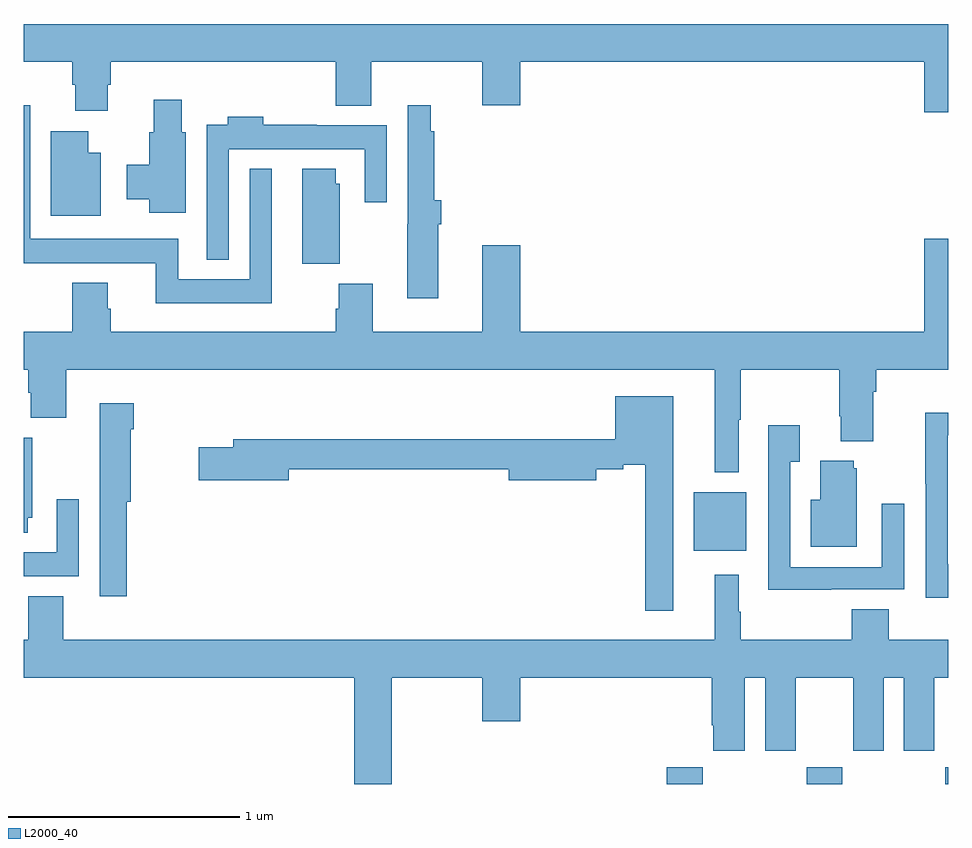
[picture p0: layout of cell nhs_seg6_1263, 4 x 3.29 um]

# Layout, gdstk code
import gdstk
lib = gdstk.Library(unit=1e-6, precision=1e-09)
def R(c, l, rs):  # rectangles x0, y0, x1, y1
    for r in rs: c.add(gdstk.rectangle(r[:2], r[2:], *l))
def P(c, l, *ps):  # polygons
    for p in ps: c.add(gdstk.Polygon(p, *l))
L2000_40 = (2000, 40)

nhs_seg6_1263 = lib.new_cell('nhs_seg6_1263')
R(nhs_seg6_1263, L2000_40, [(189.782,989.5,189.937,989.572), (190.387,989.5,190.542,989.572), (190.987,989.5,191,989.572), (189.899,990.509,190.126,990.763)])
P(nhs_seg6_1263, L2000_40, [(191,992.788),(187,992.788),(187,992.624),(187.211,992.624),(187.211,992.526),(187.223,992.526),(187.223,992.412),(187.363,992.412),(187.363,992.526),(187.376,992.526),(187.376,992.624),(188.351,992.624),(188.351,992.435),(188.503,992.435),(188.503,992.624),(188.984,992.624),(188.984,992.436),(189.148,992.436),(189.148,992.624),(190.895,992.624),(190.895,992.406),(191,992.406)],
  [(187.702,992.319),(187.684,992.319),(187.684,992.461),(187.562,992.461),(187.562,992.319),(187.544,992.319),(187.544,992.178),(187.445,992.178),(187.445,992.03),(187.544,992.03),(187.544,991.971),(187.702,991.971)],
  [(188.794,991.922),(188.807,991.922),(188.807,992.026),(188.777,992.026),(188.777,992.324),(188.76,992.324),(188.76,992.437),(188.661,992.437),(188.661,991.922),(188.66,991.922),(188.66,991.602),(188.794,991.602)],
  [(188.074,992.161),(187.977,992.161),(187.977,991.684),(187.668,991.684),(187.668,991.858),(187.029,991.858),(187.029,992.437),(187,992.437),(187,991.752),(187.036,991.752),(187.036,991.754),(187.571,991.754),(187.571,991.58),(188.074,991.58)],
  [(187.887,992.246),(188.475,992.246),(188.475,992.016),(188.571,992.016),(188.571,992.35),(188.267,992.35),(188.267,992.353),(188.036,992.353),(188.036,992.386),(187.883,992.386),(187.883,992.353),(187.791,992.353),(187.791,991.769),(187.887,991.769)],
  [(187.333,992.23),(187.279,992.23),(187.279,992.323),(187.118,992.323),(187.118,991.958),(187.333,991.958)],
  [(188.368,992.097),(188.35,992.097),(188.35,992.161),(188.204,992.161),(188.204,991.75),(188.368,991.75)],
  [(190.093,991.076),(190.103,991.076),(190.103,991.292),(190.528,991.292),(190.528,991.09),(190.535,991.09),(190.535,990.983),(190.675,990.983),(190.675,991.196),(190.688,991.196),(190.688,991.292),(191,991.292),(191,991.858),(190.895,991.858),(190.895,991.456),(189.148,991.456),(189.148,991.831),(188.984,991.831),(188.984,991.456),(188.511,991.456),(188.511,991.665),(188.363,991.665),(188.363,991.556),(188.351,991.556),(188.351,991.456),(187.376,991.456),(187.376,991.557),(187.363,991.557),(187.363,991.669),(187.211,991.669),(187.211,991.456),(187,991.456),(187,991.292),(187.019,991.292),(187.019,991.193),(187.031,991.193),(187.031,991.084),(187.184,991.084),(187.184,991.292),(189.989,991.292),(189.989,990.848),(190.093,990.848)],
  [(189.811,991.177),(189.56,991.177),(189.56,990.991),(187.907,990.991),(187.907,990.957),(187.758,990.957),(187.758,990.815),(188.146,990.815),(188.146,990.862),(189.098,990.862),(189.098,990.815),(189.478,990.815),(189.478,990.862),(189.593,990.862),(189.593,990.882),(189.69,990.882),(189.69,990.249),(189.811,990.249)],
  [(187.445,990.722),(187.462,990.722),(187.462,991.034),(187.475,991.034),(187.475,991.147),(187.328,991.147),(187.328,990.826),(187.329,990.826),(187.329,990.312),(187.445,990.312)],
  [(191,990.45),(190.998,990.45),(190.998,991.008),(191,991.008),(191,991.106),(190.9,991.106),(190.9,990.799),(190.902,990.799),(190.902,990.306),(191,990.306)],
  [(190.493,990.342),(190.809,990.342),(190.809,990.712),(190.713,990.712),(190.713,990.438),(190.317,990.438),(190.317,990.895),(190.357,990.895),(190.357,991.051),(190.221,991.051),(190.221,990.341),(190.493,990.341)],
  [(187.018,990.651),(187.036,990.651),(187.036,990.999),(187,990.999),(187,990.588),(187.018,990.588)],
  [(190.603,990.867),(190.592,990.867),(190.592,990.898),(190.445,990.898),(190.445,990.73),(190.406,990.73),(190.406,990.527),(190.603,990.527)],
  [(187.239,990.733),(187.143,990.733),(187.143,990.502),(187,990.502),(187,990.398),(187.239,990.398)],
  [(188.593,989.96),(188.984,989.96),(188.984,989.772),(189.148,989.772),(189.148,989.96),(189.977,989.96),(189.977,989.755),(189.983,989.755),(189.983,989.643),(190.12,989.643),(190.12,989.96),(190.208,989.96),(190.208,989.643),(190.339,989.643),(190.339,989.96),(190.589,989.96),(190.589,989.643),(190.72,989.643),(190.72,989.96),(190.808,989.96),(190.808,989.643),(190.939,989.643),(190.939,989.96),(191,989.96),(191,990.124),(190.742,990.124),(190.742,990.257),(190.582,990.257),(190.582,990.124),(190.103,990.124),(190.103,990.245),(190.093,990.245),(190.093,990.406),(189.989,990.406),(189.989,990.124),(187.171,990.124),(187.171,990.313),(187.019,990.313),(187.019,990.124),(187,990.124),(187,989.96),(188.429,989.96),(188.429,989.5),(188.593,989.5)])

lib.write_gds('nhs_seg6_1263.gds')
